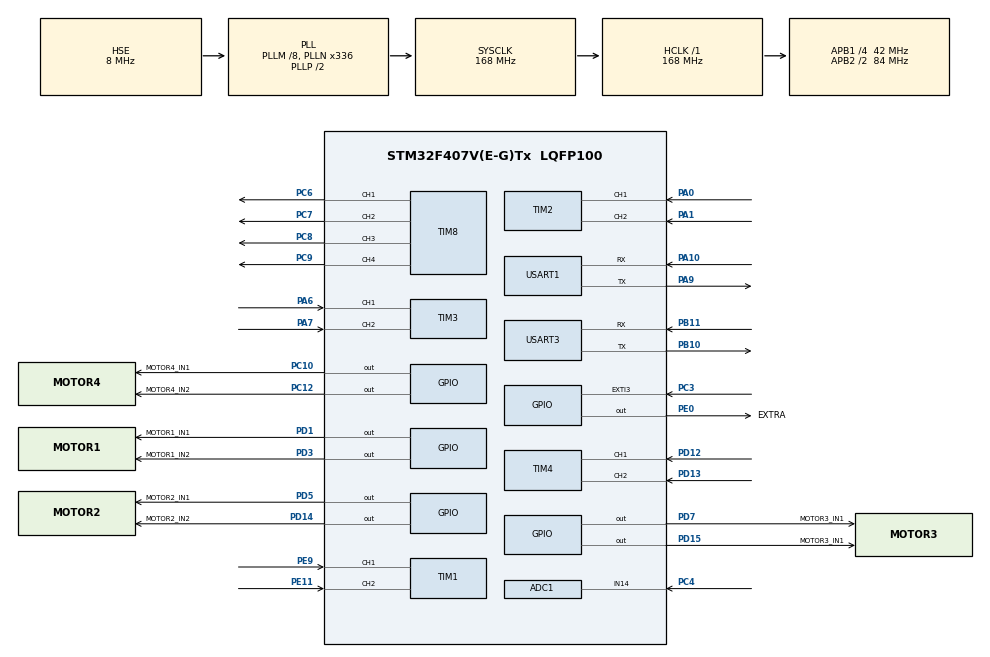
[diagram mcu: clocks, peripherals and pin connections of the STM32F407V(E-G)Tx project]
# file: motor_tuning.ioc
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ADC1.Channel-0\#ChannelRegularConversion=ADC_CHANNEL_14
ADC1.NbrOfConversionFlag=1
ADC1.Rank-0\#ChannelRegularConversion=1
ADC1.SamplingTime-0\#ChannelRegularConversion=ADC_SAMPLETIME_3CYCLES
ADC1.master=1
Mcu.Family=STM32F4
Mcu.Name=STM32F407V(E-G)Tx
Mcu.Package=LQFP100
NVIC.PriorityGroup=NVIC_PRIORITYGROUP_4
PA0-WKUP.GPIO_PuPd=GPIO_PULLUP
PA0-WKUP.GPIO_Speed=GPIO_SPEED_FREQ_LOW
PA0-WKUP.Signal=S_TIM2_CH1_ETR
PA1.GPIO_PuPd=GPIO_PULLUP
PA1.GPIO_Speed=GPIO_SPEED_FREQ_LOW
PA1.Signal=S_TIM2_CH2
PA10.Mode=Asynchronous
PA10.Signal=USART1_RX
PA13.Mode=Trace_Asynchronous_SW
PA13.Signal=SYS_JTMS-SWDIO
PA14.Mode=Trace_Asynchronous_SW
PA14.Signal=SYS_JTCK-SWCLK
PA6.Signal=S_TIM3_CH1
PA7.Signal=S_TIM3_CH2
PA9.Mode=Asynchronous
PA9.Signal=USART1_TX
PB10.Mode=Asynchronous
PB10.Signal=USART3_TX
PB11.Mode=Asynchronous
PB11.Signal=USART3_RX
PB3.Mode=Trace_Asynchronous_SW
PB3.Signal=SYS_JTDO-SWO
PC10.GPIO_Label=MOTOR4_IN1
PC10.GPIO_Speed=GPIO_SPEED_FREQ_VERY_HIGH
PC10.Signal=GPIO_Output
PC12.GPIO_Label=MOTOR4_IN2
PC12.GPIO_Speed=GPIO_SPEED_FREQ_VERY_HIGH
PC12.Signal=GPIO_Output
PC3.Signal=GPXTI3
PC4.Signal=ADCx_IN14
PC6.Signal=S_TIM8_CH1
PC7.Signal=S_TIM8_CH2
PC8.Signal=S_TIM8_CH3
PC9.Signal=S_TIM8_CH4
PD1.GPIO_Label=MOTOR1_IN1
PD1.GPIO_Speed=GPIO_SPEED_FREQ_VERY_HIGH
PD1.Signal=GPIO_Output
PD12.Signal=S_TIM4_CH1
PD13.Signal=S_TIM4_CH2
PD14.GPIO_Label=MOTOR2_IN2
PD14.GPIO_Speed=GPIO_SPEED_FREQ_VERY_HIGH
PD14.Signal=GPIO_Output
PD15.GPIO_Label=MOTOR3_IN1
PD15.GPIO_Speed=GPIO_SPEED_FREQ_VERY_HIGH
PD15.Signal=GPIO_Output
PD3.GPIO_Label=MOTOR1_IN2
PD3.GPIO_Speed=GPIO_SPEED_FREQ_VERY_HIGH
PD3.Signal=GPIO_Output
PD5.GPIO_Label=MOTOR2_IN1
PD5.GPIO_Speed=GPIO_SPEED_FREQ_VERY_HIGH
PD5.Signal=GPIO_Output
PD7.GPIO_Label=MOTOR3_IN1
PD7.GPIO_Speed=GPIO_SPEED_FREQ_VERY_HIGH
PD7.Signal=GPIO_Output
PE0.GPIO_Label=EXTRA
PE0.GPIO_Speed=GPIO_SPEED_FREQ_VERY_HIGH
PE0.Signal=GPIO_Output
PE11.GPIO_PuPd=GPIO_NOPULL
PE11.GPIO_Speed=GPIO_SPEED_FREQ_VERY_HIGH
PE11.Signal=S_TIM1_CH2
PE9.GPIO_PuPd=GPIO_NOPULL
PE9.GPIO_Speed=GPIO_SPEED_FREQ_VERY_HIGH
PE9.Signal=S_TIM1_CH1
PH0-OSC_IN.Mode=HSE-External-Oscillator
PH0-OSC_IN.Signal=RCC_OSC_IN
PH1-OSC_OUT.Mode=HSE-External-Oscillator
PH1-OSC_OUT.Signal=RCC_OSC_OUT
ProjectManager.HeapSize=0x200
ProjectManager.StackSize=0x400
ProjectManager.TargetToolchain=MDK-ARM V5
RCC.48MHZClocksFreq_Value=84000000
RCC.AHBFreq_Value=168000000
RCC.APB1CLKDivider=RCC_HCLK_DIV4
RCC.APB1Freq_Value=42000000
RCC.APB1TimFreq_Value=84000000
RCC.APB2CLKDivider=RCC_HCLK_DIV2
RCC.APB2Freq_Value=84000000
RCC.APB2TimFreq_Value=168000000
RCC.CortexFreq_Value=168000000
RCC.HCLKFreq_Value=168000000
RCC.HSE_VALUE=8000000
RCC.HSI_VALUE=16000000
RCC.LSE_VALUE=32768
RCC.PLLM=8
RCC.PLLN=336
RCC.PLLSourceVirtual=RCC_PLLSOURCE_HSE
RCC.SYSCLKFreq_VALUE=168000000
RCC.SYSCLKSource=RCC_SYSCLKSOURCE_PLLCLK
RCC.VCOOutputFreq_Value=336000000
SH.ADCx_IN14.0=ADC1_IN14,IN14
SH.S_TIM1_CH1.0=TIM1_CH1,Encoder_Interface
SH.S_TIM1_CH2.0=TIM1_CH2,Encoder_Interface
SH.S_TIM2_CH1_ETR.0=TIM2_CH1,Encoder_Interface
SH.S_TIM2_CH2.0=TIM2_CH2,Encoder_Interface
SH.S_TIM3_CH1.0=TIM3_CH1,Encoder_Interface
SH.S_TIM3_CH2.0=TIM3_CH2,Encoder_Interface
SH.S_TIM4_CH1.0=TIM4_CH1,Encoder_Interface
SH.S_TIM4_CH2.0=TIM4_CH2,Encoder_Interface
SH.S_TIM8_CH1.0=TIM8_CH1,PWM Generation1 CH1
SH.S_TIM8_CH2.0=TIM8_CH2,PWM Generation2 CH2
SH.S_TIM8_CH3.0=TIM8_CH3,PWM Generation3 CH3
SH.S_TIM8_CH4.0=TIM8_CH4,PWM Generation4 CH4
TIM1.EncoderMode=TIM_ENCODERMODE_TI12
TIM8.Channel-PWM\ Generation1\ CH1=TIM_CHANNEL_1
TIM8.Channel-PWM\ Generation2\ CH2=TIM_CHANNEL_2
TIM8.Channel-PWM\ Generation3\ CH3=TIM_CHANNEL_3
TIM8.Channel-PWM\ Generation4\ CH4=TIM_CHANNEL_4
USART1.VirtualMode=VM_ASYNC
USART3.VirtualMode=VM_ASYNC
board=custom

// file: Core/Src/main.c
/**
  ******************************************************************************
  * @file           : main.c
  * @brief          : Main program body
  ******************************************************************************
  ** This notice applies to any and all portions of this file
  * that are not between comment pairs USER CODE BEGIN and
  * USER CODE END. Other portions of this file, whether
  * inserted by the user or by software development tools
  * are owned by their respective copyright owners.
  *
  * COPYRIGHT(c) 2018 STMicroelectronics
  *
  * Redistribution and use in source and binary forms, with or without modification,
  * are permitted provided that the following conditions are met:
  *   1. Redistributions of source code must retain the above copyright notice,
  *      this list of conditions and the following disclaimer.
  *   2. Redistributions in binary form must reproduce the above copyright notice,
  *      this list of conditions and the following disclaimer in the documentation
  *      and/or other materials provided with the distribution.
  *   3. Neither the name of STMicroelectronics nor the names of its contributors
  *      may be used to endorse or promote products derived from this software
  *      without specific prior written permission.
  *
  * THIS SOFTWARE IS PROVIDED BY THE COPYRIGHT HOLDERS AND CONTRIBUTORS "AS IS"
  * AND ANY EXPRESS OR IMPLIED WARRANTIES, INCLUDING, BUT NOT LIMITED TO, THE
  * IMPLIED WARRANTIES OF MERCHANTABILITY AND FITNESS FOR A PARTICULAR PURPOSE ARE
  * DISCLAIMED. IN NO EVENT SHALL THE COPYRIGHT HOLDER OR CONTRIBUTORS BE LIABLE
  * FOR ANY DIRECT, INDIRECT, INCIDENTAL, SPECIAL, EXEMPLARY, OR CONSEQUENTIAL
  * DAMAGES (INCLUDING, BUT NOT LIMITED TO, PROCUREMENT OF SUBSTITUTE GOODS OR
  * SERVICES; LOSS OF USE, DATA, OR PROFITS; OR BUSINESS INTERRUPTION) HOWEVER
  * CAUSED AND ON ANY THEORY OF LIABILITY, WHETHER IN CONTRACT, STRICT LIABILITY,
  * OR TORT (INCLUDING NEGLIGENCE OR OTHERWISE) ARISING IN ANY WAY OUT OF THE USE
  * OF THIS SOFTWARE, EVEN IF ADVISED OF THE POSSIBILITY OF SUCH DAMAGE.
  *
  ******************************************************************************
  */
#include "main.h"
#include "stm32f4xx_hal.h"
#include "adc.h"
#include "tim.h"
#include "usart.h"
#include "gpio.h"
#include "dma.h"

/* USER CODE BEGIN Includes */
#include "robo_init.h"
#include "robot.h"
#include "pid.h"
#include "filter.h"
#include "thinker.h"

/* USER CODE END Includes */

/* USER CODE BEGIN PV */

/* USER CODE END PV */\

void SystemClock_Config(void);

/* USER CODE BEGIN PFP */
/* Private function prototypes -----------------------------------------------*/

/* USER CODE END PFP */

/* USER CODE BEGIN 0 */

struct __FILE{

int handle;
};

FILE __stdout;
FILE __stdin;

int fputc(int ch, FILE *f)
{
	ITM_SendChar(ch);
	return(ch);
}

void get_Counts(int16_t cps[4])
{
    cps[0] = TIM2->CNT; // motor 1
    TIM2->CNT = 0;

    cps[1] = TIM3->CNT; // motor 2
    TIM3->CNT = 0;

    cps[2] = TIM1->CNT; // motor 3
    TIM1->CNT = 0;

    cps[3] = TIM4->CNT; // motor 4
    TIM4->CNT = 0;
}

/* USER CODE END 0 */

int main(void)
{
  /* USER CODE BEGIN 1 */

	uint32_t update_tick = HAL_GetTick();
	uint32_t break_tick  = HAL_GetTick();

	int16_t counts_per_st[4] = {0,0,0,0};
	float omega[4] = {0,0,0,0};
	float new_omega[4] = {0,0,0,0};
	uint32_t sample_time = 10L;

	float sp = 5;
	float set_point[] = {sp,sp,sp,sp};
	uint16_t dt = 10;
	float p=0.019;
	float i=1.2;
	float d=0;
	struct Str_pid pid[4];

	// flags
	int break_flag = 0;

	// variables for serial communications
	uint8_t rx_input;
	int tx_length;
	char tx_str_omega[15];

  /* USER CODE END 1 */

  /* MCU Configuration----------------------------------------------------------*/

  /* Reset of all peripherals, Initializes the Flash interface and the Systick. */
  HAL_Init();

  /* Configure the system clock */
  SystemClock_Config();

  /* Initialize all configured peripherals */
  MX_GPIO_Init();
  MX_DMA_Init();
  MX_ADC1_Init();
  MX_TIM8_Init();
  MX_USART3_UART_Init();
  MX_USART1_UART_Init();
  MX_TIM1_Init();
  MX_TIM2_Init();
  MX_TIM3_Init();
  MX_TIM4_Init();
  /* USER CODE BEGIN 2 */

	HAL_TIM_Encoder_Start(&htim1, TIM_CHANNEL_ALL);
	HAL_TIM_Encoder_Start(&htim2, TIM_CHANNEL_ALL);
	HAL_TIM_Encoder_Start(&htim3, TIM_CHANNEL_ALL);
	HAL_TIM_Encoder_Start(&htim4, TIM_CHANNEL_ALL);

	wheel_init();
	Thinker_Init();
    for (uint8_t i = 0; i < 4; ++i) {
        init_PID(&pid[i]);
    }

	HAL_TIM_Base_Start(&htim8);
	HAL_TIM_PWM_Start(&htim8, TIM_CHANNEL_1);
	HAL_TIM_PWM_Start(&htim8, TIM_CHANNEL_2);
	HAL_TIM_PWM_Start(&htim8, TIM_CHANNEL_3);
	HAL_TIM_PWM_Start(&htim8, TIM_CHANNEL_4);

	//set_DutyCycle(&Wheel_arr[0],65535);
	//set_DutyCycle(&Wheel_arr[1],65535);
	//set_DutyCycle(&Wheel_arr[2],65535);
	//set_DutyCycle(&Wheel_arr[3],65535);
	//
	//set_Direction(&Wheel_arr[0],DIR_AHEAD);
	//set_Direction(&Wheel_arr[1],DIR_BACK);
	//set_Direction(&Wheel_arr[2],DIR_BACK);
	//set_Direction(&Wheel_arr[3],DIR_AHEAD);

		set_OutputLimit(&pid[0],12,-12);
		set_OutputLimit(&pid[1],12,-12);
		set_OutputLimit(&pid[2],12,-12);
		set_OutputLimit(&pid[3],12,-12);

  /* USER CODE END 2 */

  /* Infinite loop */
  /* USER CODE BEGIN WHILE */

    #define OMEGA_UPDATE_TIME (40)

	uint32_t omega_update_tick = HAL_GetTick();

	while(1)
	{
		set_Gains(&pid[0],p, i, d );
		set_Gains(&pid[1],p, i, d );
		set_Gains(&pid[2],p, i, d );
		set_Gains(&pid[3],p, i, d );
        /*
		if ((HAL_GetTick() - omega_update_tick) > OMEGA_UPDATE_TIME){
           omega_update_tick = HAL_GetTick();
           if (!(Thinker_isEmpty()))
               get_Thinker(set_point);
       }
		*/
		if((HAL_GetTick()- update_tick) > sample_time)
		{
            update_tick = HAL_GetTick();
            get_Counts(counts_per_st);

            for (uint8_t i = 0; i < 4; ++i) {
                omega[i] =  6.29325 * counts_per_st[i]/sample_time;
                new_omega[i] = pid_Compute(&pid[i],set_point[i],omega[i],dt);
            }

            for (uint8_t i = 0;i< 4; ++i) {
                set_Omega(&Wheel_arr[i],new_omega[i]);
                printf("%f ", omega[i]);
            }
            printf("\n");
		}
	}

  /* USER CODE END WHILE */

	}

void SystemClock_Config(void)
{

  RCC_OscInitTypeDef RCC_OscInitStruct;
  RCC_ClkInitTypeDef RCC_ClkInitStruct;

    /**Configure the main internal regulator output voltage
    */
  __HAL_RCC_PWR_CLK_ENABLE();

  __HAL_PWR_VOLTAGESCALING_CONFIG(PWR_REGULATOR_VOLTAGE_SCALE1);

    /**Initializes the CPU, AHB and APB busses clocks
    */
  RCC_OscInitStruct.OscillatorType = RCC_OSCILLATORTYPE_HSE;
  RCC_OscInitStruct.HSEState = RCC_HSE_ON;
  RCC_OscInitStruct.PLL.PLLState = RCC_PLL_ON;
  RCC_OscInitStruct.PLL.PLLSource = RCC_PLLSOURCE_HSE;
  RCC_OscInitStruct.PLL.PLLM = 8;
  RCC_OscInitStruct.PLL.PLLN = 336;
  RCC_OscInitStruct.PLL.PLLP = RCC_PLLP_DIV2;
  RCC_OscInitStruct.PLL.PLLQ = 4;
  if (HAL_RCC_OscConfig(&RCC_OscInitStruct) != HAL_OK)
  {
    _Error_Handler(__FILE__, __LINE__);
  }

    /**Initializes the CPU, AHB and APB busses clocks
    */
  RCC_ClkInitStruct.ClockType = RCC_CLOCKTYPE_HCLK|RCC_CLOCKTYPE_SYSCLK
                              |RCC_CLOCKTYPE_PCLK1|RCC_CLOCKTYPE_PCLK2;
  RCC_ClkInitStruct.SYSCLKSource = RCC_SYSCLKSOURCE_PLLCLK;
  RCC_ClkInitStruct.AHBCLKDivider = RCC_SYSCLK_DIV1;
  RCC_ClkInitStruct.APB1CLKDivider = RCC_HCLK_DIV4;
  RCC_ClkInitStruct.APB2CLKDivider = RCC_HCLK_DIV2;

  if (HAL_RCC_ClockConfig(&RCC_ClkInitStruct, FLASH_LATENCY_5) != HAL_OK)
  {
    _Error_Handler(__FILE__, __LINE__);
  }

    /**Configure the Systick interrupt time
    */
  HAL_SYSTICK_Config(HAL_RCC_GetHCLKFreq()/1000);

    /**Configure the Systick
    */
  HAL_SYSTICK_CLKSourceConfig(SYSTICK_CLKSOURCE_HCLK);

  /* SysTick_IRQn interrupt configuration */
  HAL_NVIC_SetPriority(SysTick_IRQn, 0, 0);
}

void _Error_Handler(char *file, int line)
{
        while (1)
        {
        }
}

/************************ (C) COPYRIGHT STMicroelectronics *****END OF FILE****/
